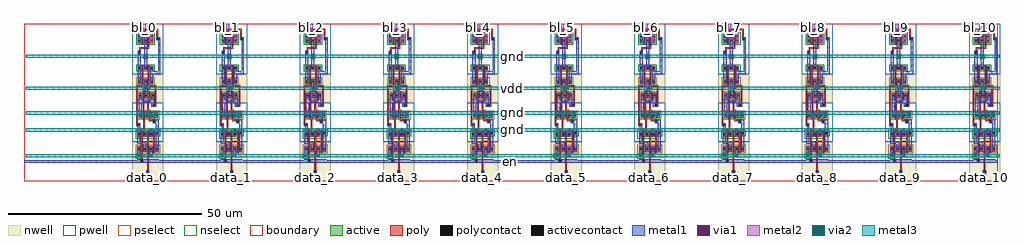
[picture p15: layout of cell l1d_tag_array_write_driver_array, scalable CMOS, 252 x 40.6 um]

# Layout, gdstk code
import gdstk
lib = gdstk.Library(unit=1e-6, precision=1e-09)
def R(c, l, rs):  # rectangles x0, y0, x1, y1
    for r in rs: c.add(gdstk.rectangle(r[:2], r[2:], *l))
def A(c, l, x, y, w, h, nx, ny, dx, dy):  # array of equal rectangles
    R(c, l, [(x+i*dx, y+j*dy, x+i*dx+w, y+j*dy+h) for i in range(nx) for j in range(ny)])
def P(c, l, *ps):  # polygons
    for p in ps: c.add(gdstk.Polygon(p, *l))
pwell = (41, 0)
nwell = (42, 0)
active = (43, 0)
pselect = (44, 0)
nselect = (45, 0)
poly = (46, 0)
polycontact = (47, 0)
activecontact = (48, 0)
metal1 = (49, 0)
via1 = (50, 0)
metal2 = (51, 0)
via2 = (61, 0)
metal3 = (62, 0)
boundary = (63, 0)

write_driver = lib.new_cell('write_driver')
R(write_driver, pwell, [(-0.6,10.2,7.4,20.2), (-0.6,27.6,7.4,40.6)])
R(write_driver, nwell, [(-0.6,0,7.4,10.2), (-0.6,20.2,7.4,27.6)])
R(write_driver, active, [(0.6,6.2,1.4,7.6), (0.6,7.6,6.2,9), (0.6,11.4,4.6,12), (0.6,12,6.2,12.8), (1,16.4,6,17.8), (1,21.4,5,22.8), (2.4,23.6,3.2,25), (0.8,25,4.8,26.4), (0.8,28.8,4.8,29.6), (2.2,31.6,3.4,32.7), (0.8,35.6,4.8,38)])
R(write_driver, pselect, [(0.2,7,1.8,7.2), (0.2,7.2,6.6,9.4), (5.2,16,6.4,18.2), (0.6,21,5.4,23.2), (2,24.4,3.6,24.6), (0.4,24.6,5.2,26.8), (2.2,31.6,3.4,32.7)])
R(write_driver, nselect, [(0.2,5.8,1.8,7), (0.2,11,5,11.6), (0.2,11.6,6.6,13.2), (0.6,16,5.2,18.2), (2,23.2,3.6,24.4), (0.4,28.4,5.2,30), (0.4,35.2,5.2,38.4)])
R(write_driver, poly, [(3,2,3.8,2.8), (3.2,2.8,3.6,10), (1.4,4.8,2.2,5.6), (1.6,5.6,2,13), (4.8,7.2,5.2,10), (3.2,10,5.2,10.4), (3.2,10.4,3.6,13.2), (4.8,10.4,5.2,13.2), (1.6,13,2.6,13.4), (2.2,13.4,2.6,15.8), (0.4,14.2,1.4,15), (0.4,15,0.8,24.4), (4.6,15,5.4,15.4), (3.6,15.4,5.4,15.8), (2,15.8,2.6,16.2), (3.6,15.8,4,18), (2,16.2,2.4,23.2), (3.2,18,4,18.4), (3.2,18.4,3.6,20.8), (4.6,19.2,5.6,20), (5.2,20,5.6,24.4), (3.2,20.8,4,21.2), (3.6,21.2,4,23.2), (0.4,24.4,2.2,24.8), (3.4,24.4,5.6,24.8), (1.8,24.8,2.2,30), (3.4,24.8,3.8,30), (0.8,32.8,1.6,33.6), (1.2,33.6,1.6,34.2), (1.2,34.2,3.8,34.6), (3.4,34.6,3.8,38.4), (1.8,35.2,2.2,39), (5.6,36.4,6.4,37.2), (5.6,37.2,6,39), (1.8,39,6,39.4)])
R(write_driver, polycontact, [(3.2,2.2,3.6,2.6), (1.6,5,2,5.4), (0.8,14.4,1.2,14.8), (4.8,15.2,5.2,15.6), (4.8,19.4,5.2,19.8), (1,33,1.4,33.4), (5.8,36.6,6.2,37)])
A(write_driver, activecontact, 0.8, 8.1, 0.4, 0.4, 4, 1, 1.6, 0)
A(write_driver, activecontact, 0.8, 11.9, 0.4, 0.4, 3, 1, 1.6, 0)
A(write_driver, activecontact, 1.2, 16.9, 0.4, 0.4, 3, 2, 1.6, 5)
A(write_driver, activecontact, 1, 25.5, 0.4, 0.4, 3, 2, 1.6, 3.5)
A(write_driver, activecontact, 1, 36.1, 0.4, 0.4, 3, 2, 1.6, 1)
R(write_driver, activecontact, [(0.8,6.4,1.2,6.8), (5.6,12.2,6,12.6), (5.4,16.9,5.8,17.3), (2.6,23.8,3,24.2), (2.6,32,3,32.4)])
R(write_driver, metal1, [(3,1.2,3.8,2.8), (0.6,4.8,6.2,5.6), (0.6,4.8,6.2,5.6), (0.6,6.2,4.6,7), (0.6,7,1.4,9), (3.8,7,4.6,9), (2.2,7.6,3,9.6), (5.4,7.6,6.2,15), (0.6,9.6,3,10.2), (0.6,10.2,1.4,12.8), (2.2,11.4,3,12.8), (3.8,11.4,4.6,13.6), (0.8,12.8,1.4,14.2), (0.6,14.2,1.4,15), (4.6,15,6.2,15.8), (1,16.4,1.8,20.2), (2.6,16.4,3.4,17.8), (4.2,16.4,6,17.8), (5,17.8,6,18), (4.2,19.2,5.4,20), (4.2,20,5,20.2), (1,20.2,5,20.8), (1,20.8,1.8,22.8), (4.2,20.8,5,22.8), (2.6,21.4,3.4,23.6), (2.4,23.6,4,24.4), (2.4,24.4,3.2,26.4), (0.8,25,1.6,33.6), (4,25,4.8,27.6), (4,27.6,6.6,28.4), (4,28.4,4.8,29.6), (6,28.4,6.6,36.4), (0.8,35.6,1.6,38), (4,35.6,4.8,38.8), (5.6,36.4,6.6,37.2), (1,38,1.6,38.6), (1,38.6,2.8,39.4)])
P(write_driver, metal1, [(2.4,28.8),(2.4,31.695),(2.4,38),(3.2,38),(3.2,28.8)])
R(write_driver, via1, [(3.2,1.4,3.6,1.8), (4,6.4,4.4,6.8), (4,13,4.4,13.4), (5.4,17.4,5.8,17.8), (3.4,23.8,3.8,24.2), (2.6,32,3,32.4), (4.2,38.2,4.6,38.6), (2.2,38.8,2.6,39.2)])
R(write_driver, metal2, [(3,0,3.8,2), (3,0,3.8,2), (3.8,6.2,4.6,7), (3.8,6.2,4.6,7), (3.8,12.8,4.6,13.6), (3.8,12.8,4.6,13.6), (5.2,17.2,6,18), (5.2,17.2,6,18), (3.2,23.6,4,24.4), (3.2,23.6,4,24.4), (2.4,31.8,3.2,32.6), (2.4,31.8,3.2,32.6), (4,35.6,4.8,40.6), (4,35.6,4.8,40.6), (2,38.6,2.8,40.6), (2,38.6,2.8,40.6)])
R(write_driver, boundary, [(0,0,6.8,40.6)])
write_driver.add(gdstk.Label('en', (3.4,5.2), layer=49, texttype=0))
write_driver.add(gdstk.Label('din', (3,0.2), layer=51, texttype=0))
write_driver.add(gdstk.Label('gnd', (4.2,13.2), layer=51, texttype=0))
write_driver.add(gdstk.Label('gnd', (5.6,17.6), layer=51, texttype=0))
write_driver.add(gdstk.Label('vdd', (4.2,6.6), layer=51, texttype=0))
write_driver.add(gdstk.Label('vdd', (3.6,24), layer=51, texttype=0))
write_driver.add(gdstk.Label('bl', (2.4,40.2), layer=51, texttype=0))
write_driver.add(gdstk.Label('br', (4.4,40.2), layer=51, texttype=0))
write_driver.add(gdstk.Label('gnd', (2.8,32.2), layer=51, texttype=0))
write_driver.add(gdstk.Label('din', (3.4,1), layer=51, texttype=0))
write_driver.add(gdstk.Label('bl', (2.4,39.6), layer=51, texttype=0))
write_driver.add(gdstk.Label('br', (4.4,38.1), layer=51, texttype=0))
write_driver.add(gdstk.Label('en', (3.4,5.2), layer=49, texttype=0))
write_driver.add(gdstk.Label('vdd', (4.2,6.6), layer=51, texttype=0))
write_driver.add(gdstk.Label('vdd', (3.6,24), layer=51, texttype=0))
write_driver.add(gdstk.Label('gnd', (4.2,13.2), layer=51, texttype=0))
write_driver.add(gdstk.Label('gnd', (5.6,17.6), layer=51, texttype=0))
write_driver.add(gdstk.Label('gnd', (2.8,32.2), layer=51, texttype=0))

l1d_tag_array_contact_18 = lib.new_cell('l1d_tag_array_contact_18')
R(l1d_tag_array_contact_18, metal2, [(0,0,0.8,0.8)])
R(l1d_tag_array_contact_18, via2, [(0.2,0.2,0.6,0.6)])
R(l1d_tag_array_contact_18, metal3, [(0,0,0.8,0.8)])
R(l1d_tag_array_contact_18, boundary, [(0,0,0.8,0.8)])

l1d_tag_array_write_driv = lib.new_cell('l1d_tag_array_write_driver_array')
R(l1d_tag_array_write_driv, metal1, [(0,4.8,251.4,5.4)])
A(l1d_tag_array_write_driv, metal2, 31.6, 0, 0.8, 2, 11, 1, 21.6, 0)
A(l1d_tag_array_write_driv, metal2, 32.6, 35.6, 0.8, 5, 11, 1, 21.6, 0)
A(l1d_tag_array_write_driv, metal2, 30.6, 38.6, 0.8, 2, 11, 1, 21.6, 0)
R(l1d_tag_array_write_driv, metal3, [(0.4,6.2,251.8,7), (0.4,12.8,251.8,13.6), (0.4,17.2,251.8,18), (0.4,23.6,251.8,24.4), (0.4,31.8,251.8,32.6)])
R(l1d_tag_array_write_driv, boundary, [(0,0,251.4,40.6)])
l1d_tag_array_write_driv.add(gdstk.Reference(write_driver, (28.6,0)))
l1d_tag_array_write_driv.add(gdstk.Reference(write_driver, (50.2,0)))
l1d_tag_array_write_driv.add(gdstk.Reference(write_driver, (71.8,0)))
l1d_tag_array_write_driv.add(gdstk.Reference(write_driver, (93.4,0)))
l1d_tag_array_write_driv.add(gdstk.Reference(write_driver, (115,0)))
l1d_tag_array_write_driv.add(gdstk.Reference(write_driver, (136.6,0)))
l1d_tag_array_write_driv.add(gdstk.Reference(write_driver, (158.2,0)))
l1d_tag_array_write_driv.add(gdstk.Reference(write_driver, (179.8,0)))
l1d_tag_array_write_driv.add(gdstk.Reference(write_driver, (201.4,0)))
l1d_tag_array_write_driv.add(gdstk.Reference(write_driver, (223,0)))
l1d_tag_array_write_driv.add(gdstk.Reference(write_driver, (244.6,0)))
l1d_tag_array_write_driv.add(gdstk.Reference(l1d_tag_array_contact_18, (32.4,6.2)))
l1d_tag_array_write_driv.add(gdstk.Reference(l1d_tag_array_contact_18, (54,6.2)))
l1d_tag_array_write_driv.add(gdstk.Reference(l1d_tag_array_contact_18, (75.6,6.2)))
l1d_tag_array_write_driv.add(gdstk.Reference(l1d_tag_array_contact_18, (97.2,6.2)))
l1d_tag_array_write_driv.add(gdstk.Reference(l1d_tag_array_contact_18, (118.8,6.2)))
l1d_tag_array_write_driv.add(gdstk.Reference(l1d_tag_array_contact_18, (140.4,6.2)))
l1d_tag_array_write_driv.add(gdstk.Reference(l1d_tag_array_contact_18, (162,6.2)))
l1d_tag_array_write_driv.add(gdstk.Reference(l1d_tag_array_contact_18, (183.6,6.2)))
l1d_tag_array_write_driv.add(gdstk.Reference(l1d_tag_array_contact_18, (205.2,6.2)))
l1d_tag_array_write_driv.add(gdstk.Reference(l1d_tag_array_contact_18, (226.8,6.2)))
l1d_tag_array_write_driv.add(gdstk.Reference(l1d_tag_array_contact_18, (248.4,6.2)))
l1d_tag_array_write_driv.add(gdstk.Reference(l1d_tag_array_contact_18, (31.8,23.6)))
l1d_tag_array_write_driv.add(gdstk.Reference(l1d_tag_array_contact_18, (53.4,23.6)))
l1d_tag_array_write_driv.add(gdstk.Reference(l1d_tag_array_contact_18, (75,23.6)))
l1d_tag_array_write_driv.add(gdstk.Reference(l1d_tag_array_contact_18, (96.6,23.6)))
l1d_tag_array_write_driv.add(gdstk.Reference(l1d_tag_array_contact_18, (118.2,23.6)))
l1d_tag_array_write_driv.add(gdstk.Reference(l1d_tag_array_contact_18, (139.8,23.6)))
l1d_tag_array_write_driv.add(gdstk.Reference(l1d_tag_array_contact_18, (161.4,23.6)))
l1d_tag_array_write_driv.add(gdstk.Reference(l1d_tag_array_contact_18, (183,23.6)))
l1d_tag_array_write_driv.add(gdstk.Reference(l1d_tag_array_contact_18, (204.6,23.6)))
l1d_tag_array_write_driv.add(gdstk.Reference(l1d_tag_array_contact_18, (226.2,23.6)))
l1d_tag_array_write_driv.add(gdstk.Reference(l1d_tag_array_contact_18, (247.8,23.6)))
l1d_tag_array_write_driv.add(gdstk.Reference(l1d_tag_array_contact_18, (32.4,12.8)))
l1d_tag_array_write_driv.add(gdstk.Reference(l1d_tag_array_contact_18, (54,12.8)))
l1d_tag_array_write_driv.add(gdstk.Reference(l1d_tag_array_contact_18, (75.6,12.8)))
l1d_tag_array_write_driv.add(gdstk.Reference(l1d_tag_array_contact_18, (97.2,12.8)))
l1d_tag_array_write_driv.add(gdstk.Reference(l1d_tag_array_contact_18, (118.8,12.8)))
l1d_tag_array_write_driv.add(gdstk.Reference(l1d_tag_array_contact_18, (140.4,12.8)))
l1d_tag_array_write_driv.add(gdstk.Reference(l1d_tag_array_contact_18, (162,12.8)))
l1d_tag_array_write_driv.add(gdstk.Reference(l1d_tag_array_contact_18, (183.6,12.8)))
l1d_tag_array_write_driv.add(gdstk.Reference(l1d_tag_array_contact_18, (205.2,12.8)))
l1d_tag_array_write_driv.add(gdstk.Reference(l1d_tag_array_contact_18, (226.8,12.8)))
l1d_tag_array_write_driv.add(gdstk.Reference(l1d_tag_array_contact_18, (248.4,12.8)))
l1d_tag_array_write_driv.add(gdstk.Reference(l1d_tag_array_contact_18, (33.8,17.2)))
l1d_tag_array_write_driv.add(gdstk.Reference(l1d_tag_array_contact_18, (55.4,17.2)))
l1d_tag_array_write_driv.add(gdstk.Reference(l1d_tag_array_contact_18, (77,17.2)))
l1d_tag_array_write_driv.add(gdstk.Reference(l1d_tag_array_contact_18, (98.6,17.2)))
l1d_tag_array_write_driv.add(gdstk.Reference(l1d_tag_array_contact_18, (120.2,17.2)))
l1d_tag_array_write_driv.add(gdstk.Reference(l1d_tag_array_contact_18, (141.8,17.2)))
l1d_tag_array_write_driv.add(gdstk.Reference(l1d_tag_array_contact_18, (163.4,17.2)))
l1d_tag_array_write_driv.add(gdstk.Reference(l1d_tag_array_contact_18, (185,17.2)))
l1d_tag_array_write_driv.add(gdstk.Reference(l1d_tag_array_contact_18, (206.6,17.2)))
l1d_tag_array_write_driv.add(gdstk.Reference(l1d_tag_array_contact_18, (228.2,17.2)))
l1d_tag_array_write_driv.add(gdstk.Reference(l1d_tag_array_contact_18, (249.8,17.2)))
l1d_tag_array_write_driv.add(gdstk.Reference(l1d_tag_array_contact_18, (31,31.8)))
l1d_tag_array_write_driv.add(gdstk.Reference(l1d_tag_array_contact_18, (52.6,31.8)))
l1d_tag_array_write_driv.add(gdstk.Reference(l1d_tag_array_contact_18, (74.2,31.8)))
l1d_tag_array_write_driv.add(gdstk.Reference(l1d_tag_array_contact_18, (95.8,31.8)))
l1d_tag_array_write_driv.add(gdstk.Reference(l1d_tag_array_contact_18, (117.4,31.8)))
l1d_tag_array_write_driv.add(gdstk.Reference(l1d_tag_array_contact_18, (139,31.8)))
l1d_tag_array_write_driv.add(gdstk.Reference(l1d_tag_array_contact_18, (160.6,31.8)))
l1d_tag_array_write_driv.add(gdstk.Reference(l1d_tag_array_contact_18, (182.2,31.8)))
l1d_tag_array_write_driv.add(gdstk.Reference(l1d_tag_array_contact_18, (203.8,31.8)))
l1d_tag_array_write_driv.add(gdstk.Reference(l1d_tag_array_contact_18, (225.4,31.8)))
l1d_tag_array_write_driv.add(gdstk.Reference(l1d_tag_array_contact_18, (247,31.8)))
l1d_tag_array_write_driv.add(gdstk.Label('data_0', (32,1), layer=51, texttype=0))
l1d_tag_array_write_driv.add(gdstk.Label('bl_0', (31,39.6), layer=51, texttype=0))
l1d_tag_array_write_driv.add(gdstk.Label('br_0', (33,38.1), layer=51, texttype=0))
l1d_tag_array_write_driv.add(gdstk.Label('data_1', (53.6,1), layer=51, texttype=0))
l1d_tag_array_write_driv.add(gdstk.Label('bl_1', (52.6,39.6), layer=51, texttype=0))
l1d_tag_array_write_driv.add(gdstk.Label('br_1', (54.6,38.1), layer=51, texttype=0))
l1d_tag_array_write_driv.add(gdstk.Label('data_2', (75.2,1), layer=51, texttype=0))
l1d_tag_array_write_driv.add(gdstk.Label('bl_2', (74.2,39.6), layer=51, texttype=0))
l1d_tag_array_write_driv.add(gdstk.Label('br_2', (76.2,38.1), layer=51, texttype=0))
l1d_tag_array_write_driv.add(gdstk.Label('data_3', (96.8,1), layer=51, texttype=0))
l1d_tag_array_write_driv.add(gdstk.Label('bl_3', (95.8,39.6), layer=51, texttype=0))
l1d_tag_array_write_driv.add(gdstk.Label('br_3', (97.8,38.1), layer=51, texttype=0))
l1d_tag_array_write_driv.add(gdstk.Label('data_4', (118.4,1), layer=51, texttype=0))
l1d_tag_array_write_driv.add(gdstk.Label('bl_4', (117.4,39.6), layer=51, texttype=0))
l1d_tag_array_write_driv.add(gdstk.Label('br_4', (119.4,38.1), layer=51, texttype=0))
l1d_tag_array_write_driv.add(gdstk.Label('data_5', (140,1), layer=51, texttype=0))
l1d_tag_array_write_driv.add(gdstk.Label('bl_5', (139,39.6), layer=51, texttype=0))
l1d_tag_array_write_driv.add(gdstk.Label('br_5', (141,38.1), layer=51, texttype=0))
l1d_tag_array_write_driv.add(gdstk.Label('data_6', (161.6,1), layer=51, texttype=0))
l1d_tag_array_write_driv.add(gdstk.Label('bl_6', (160.6,39.6), layer=51, texttype=0))
l1d_tag_array_write_driv.add(gdstk.Label('br_6', (162.6,38.1), layer=51, texttype=0))
l1d_tag_array_write_driv.add(gdstk.Label('data_7', (183.2,1), layer=51, texttype=0))
l1d_tag_array_write_driv.add(gdstk.Label('bl_7', (182.2,39.6), layer=51, texttype=0))
l1d_tag_array_write_driv.add(gdstk.Label('br_7', (184.2,38.1), layer=51, texttype=0))
l1d_tag_array_write_driv.add(gdstk.Label('data_8', (204.8,1), layer=51, texttype=0))
l1d_tag_array_write_driv.add(gdstk.Label('bl_8', (203.8,39.6), layer=51, texttype=0))
l1d_tag_array_write_driv.add(gdstk.Label('br_8', (205.8,38.1), layer=51, texttype=0))
l1d_tag_array_write_driv.add(gdstk.Label('data_9', (226.4,1), layer=51, texttype=0))
l1d_tag_array_write_driv.add(gdstk.Label('bl_9', (225.4,39.6), layer=51, texttype=0))
l1d_tag_array_write_driv.add(gdstk.Label('br_9', (227.4,38.1), layer=51, texttype=0))
l1d_tag_array_write_driv.add(gdstk.Label('data_10', (248,1), layer=51, texttype=0))
l1d_tag_array_write_driv.add(gdstk.Label('bl_10', (247,39.6), layer=51, texttype=0))
l1d_tag_array_write_driv.add(gdstk.Label('br_10', (249,38.1), layer=51, texttype=0))
l1d_tag_array_write_driv.add(gdstk.Label('en', (125.7,5.1), layer=49, texttype=0))
l1d_tag_array_write_driv.add(gdstk.Label('vdd', (126.1,6.6), layer=62, texttype=0))
l1d_tag_array_write_driv.add(gdstk.Label('vdd', (126.1,24), layer=62, texttype=0))
l1d_tag_array_write_driv.add(gdstk.Label('gnd', (126.1,17.6), layer=62, texttype=0))
l1d_tag_array_write_driv.add(gdstk.Label('gnd', (126.1,13.2), layer=62, texttype=0))
l1d_tag_array_write_driv.add(gdstk.Label('gnd', (126.1,32.2), layer=62, texttype=0))

lib.write_gds('l1d_tag_array_write_driver_array.gds')
